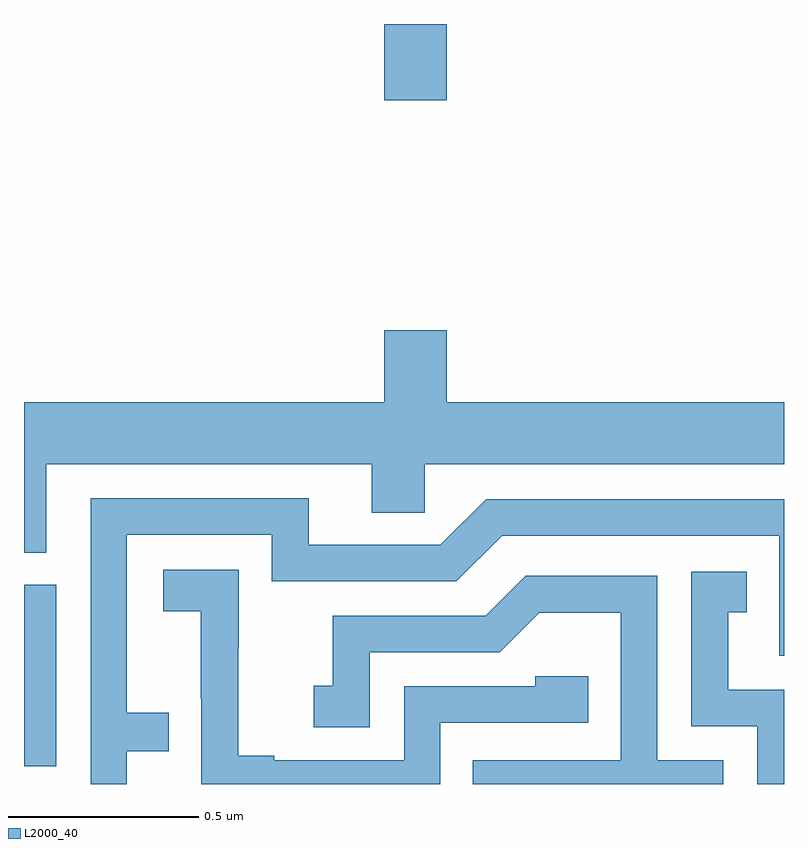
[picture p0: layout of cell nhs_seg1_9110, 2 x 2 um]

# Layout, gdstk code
import gdstk
lib = gdstk.Library(unit=1e-6, precision=1e-09)
def R(c, l, rs):  # rectangles x0, y0, x1, y1
    for r in rs: c.add(gdstk.rectangle(r[:2], r[2:], *l))
def P(c, l, *ps):  # polygons
    for p in ps: c.add(gdstk.Polygon(p, *l))
L2000_40 = (2000, 40)

nhs_seg1_9110 = lib.new_cell('nhs_seg1_9110')
R(nhs_seg1_9110, L2000_40, [(224,576.246,224.085,576.723), (224.948,577.998,225.112,578.199)])
P(nhs_seg1_9110, L2000_40, [(224.059,577.04),(224.915,577.04),(224.915,576.913),(225.054,576.913),(225.054,577.04),(226,577.04),(226,577.204),(225.112,577.204),(225.112,577.393),(224.948,577.393),(224.948,577.204),(224,577.204),(224,576.808),(224.059,576.808)],
  [(224.271,576.285),(224.381,576.285),(224.381,576.386),(224.271,576.386),(224.271,576.855),(224.652,576.855),(224.652,576.732),(225.138,576.732),(225.258,576.852),(225.987,576.852),(225.987,576.537),(226,576.537),(226,576.948),(225.216,576.948),(225.096,576.828),(224.749,576.828),(224.749,576.951),(224.175,576.951),(224.175,576.199),(224.271,576.199)],
  [(225.096,576.36),(225.485,576.36),(225.485,576.483),(225.345,576.483),(225.345,576.456),(225,576.456),(225,576.261),(224.659,576.261),(224.659,576.274),(224.564,576.274),(224.564,576.557),(224.565,576.557),(224.565,576.763),(224.367,576.763),(224.367,576.653),(224.465,576.653),(224.465,576.425),(224.466,576.425),(224.466,576.199),(225.096,576.199)],
  [(226,576.447),(225.853,576.447),(225.853,576.651),(225.902,576.651),(225.902,576.757),(225.756,576.757),(225.756,576.351),(225.93,576.351),(225.93,576.199),(226,576.199)],
  [(225.84,576.261),(225.666,576.261),(225.666,576.747),(225.32,576.747),(225.215,576.642),(224.812,576.642),(224.812,576.457),(224.763,576.457),(224.763,576.348),(224.91,576.348),(224.91,576.546),(225.252,576.546),(225.356,576.65),(225.57,576.65),(225.57,576.261),(225.181,576.261),(225.181,576.199),(225.84,576.199)])

lib.write_gds('nhs_seg1_9110.gds')
